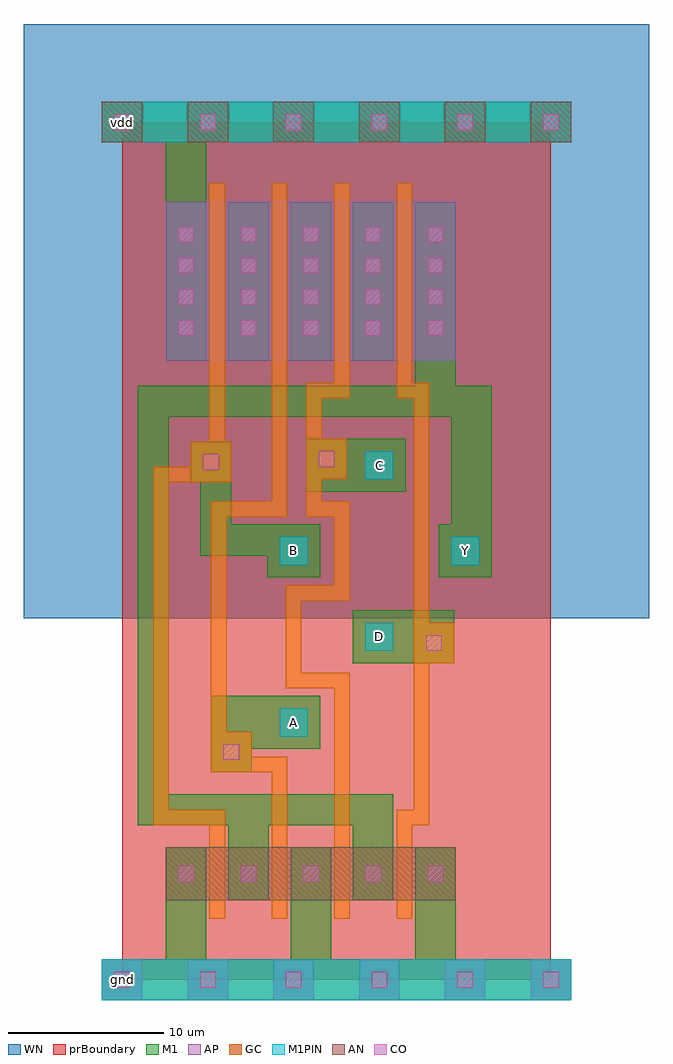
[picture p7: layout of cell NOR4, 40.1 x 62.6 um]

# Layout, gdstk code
import gdstk
lib = gdstk.Library(unit=1e-6, precision=1e-09)
def R(c, l, rs):  # rectangles x0, y0, x1, y1
    for r in rs: c.add(gdstk.rectangle(r[:2], r[2:], *l))
def A(c, l, x, y, w, h, nx, ny, dx, dy):  # array of equal rectangles
    R(c, l, [(x+i*dx, y+j*dy, x+i*dx+w, y+j*dy+h) for i in range(nx) for j in range(ny)])
def P(c, l, *ps):  # polygons
    for p in ps: c.add(gdstk.Polygon(p, *l))
AP = (3, 1)
AN = (3, 2)
GC = (8, 1)
CO = (11, 0)
M1 = (13, 0)
M1PIN = (48, 1)
WN = (140, 0)
prBoundary = (235, 0)

nor4 = lib.new_cell('NOR4')
A(nor4, AP, -1.3, -1.3, 2.6, 2.6, 6, 1, 5.5, 0)
R(nor4, AP, [(2.8,39.7,21.4,49.9), (2.8,39.7,21.4,49.9)])
A(nor4, AN, -1.3, 53.7, 2.6, 2.6, 6, 1, 5.5, 0)
R(nor4, AN, [(2.8,5.1,21.4,8.5)])
P(nor4, GC, [(5.6,3.9),(5.6,9.9),(2,9.9),(2,32.9),(4.4,32.9),(4.4,34.5),(5.6,34.5),(5.6,51.1),(6.6,51.1),(6.6,34.5),(7,34.5),(7,31.9),(3,31.9),(3,10.9),(6.6,10.9),(6.6,3.9)],
  [(9.6,3.9),(9.6,13.3),(5.7,13.3),(5.7,30.7),(9.6,30.7),(9.6,51.1),(10.6,51.1),(10.6,29.7),(6.7,29.7),(6.7,15.9),(8.3,15.9),(8.3,14.3),(10.6,14.3),(10.6,3.9)],
  [(13.6,3.9),(13.6,18.7),(10.5,18.7),(10.5,25.3),(13.6,25.3),(13.6,29.7),(11.8,29.7),(11.8,38.3),(13.6,38.3),(13.6,51.1),(14.6,51.1),(14.6,37.3),(12.8,37.3),(12.8,34.7),(14.4,34.7),(14.4,32.1),(12.8,32.1),(12.8,30.7),(14.6,30.7),(14.6,24.3),(11.5,24.3),(11.5,19.7),(14.6,19.7),(14.6,3.9)],
  [(17.6,3.9),(17.6,10.9),(18.7,10.9),(18.7,37.3),(17.6,37.3),(17.6,51.1),(18.6,51.1),(18.6,38.3),(19.7,38.3),(19.7,22.9),(21.3,22.9),(21.3,20.3),(19.7,20.3),(19.7,9.9),(18.6,9.9),(18.6,3.9)])
A(nor4, CO, -0.5, -0.5, 1, 1, 6, 2, 5.5, 55)
A(nor4, CO, 3.6, 41.3, 1, 1, 1, 4, 0, 2)
A(nor4, CO, 19.6, 41.3, 1, 1, 1, 4, 0, 2)
R(nor4, CO, [(3.6,6.3,4.6,7.3), (7.6,6.3,8.6,7.3), (7.6,6.3,8.6,7.3), (11.6,6.3,12.6,7.3), (11.6,6.3,12.6,7.3), (15.6,6.3,16.6,7.3), (15.6,6.3,16.6,7.3), (19.6,6.3,20.6,7.3), (6.5,14.1,7.5,15.1), (19.5,21.1,20.5,22.1), (5.2,32.7,6.2,33.7), (12.6,32.9,13.6,33.9), (7.6,41.3,8.6,42.3), (7.6,41.3,8.6,42.3), (11.6,41.3,12.6,42.3), (11.6,41.3,12.6,42.3), (15.6,41.3,16.6,42.3), (15.6,41.3,16.6,42.3), (7.6,43.3,8.6,44.3), (7.6,43.3,8.6,44.3), (11.6,43.3,12.6,44.3), (11.6,43.3,12.6,44.3), (15.6,43.3,16.6,44.3), (15.6,43.3,16.6,44.3), (7.6,45.3,8.6,46.3), (7.6,45.3,8.6,46.3), (11.6,45.3,12.6,46.3), (11.6,45.3,12.6,46.3), (15.6,45.3,16.6,46.3), (15.6,45.3,16.6,46.3), (7.6,47.3,8.6,48.3), (7.6,47.3,8.6,48.3), (11.6,47.3,12.6,48.3), (11.6,47.3,12.6,48.3), (15.6,47.3,16.6,48.3), (15.6,47.3,16.6,48.3)])
A(nor4, M1, 6.8, 39.7, 2.6, 10.2, 3, 1, 4, 0)
R(nor4, M1, [(14.8,20.3,21.3,23.7), (11.8,31.3,18.2,34.7)])
P(nor4, M1, [(-1.3,-1.3),(-1.3,1.3),(2.8,1.3),(2.8,8.5),(5.4,8.5),(5.4,1.3),(10.8,1.3),(10.8,8.5),(13.4,8.5),(13.4,1.3),(18.8,1.3),(18.8,8.5),(21.4,8.5),(21.4,1.3),(28.8,1.3),(28.8,-1.3)],
  [(5.7,13.3),(5.7,18.2),(12.7,18.2),(12.7,14.8),(8.3,14.8),(8.3,13.3)],
  [(9.3,25.8),(9.3,27.2),(5,27.2),(5,31.9),(4.4,31.9),(4.4,34.5),(7,34.5),(7,29.2),(12.7,29.2),(12.7,25.8)],
  [(6.8,5.1),(6.8,9.9),(1,9.9),(1,38.1),(18.8,38.1),(18.8,49.9),(21.4,49.9),(21.4,38.1),(23.7,38.1),(23.7,25.8),(20.3,25.8),(20.3,29.2),(21.1,29.2),(21.1,36.1),(3,36.1),(3,11.9),(17.4,11.9),(17.4,5.1),(14.8,5.1),(14.8,9.9),(9.4,9.9),(9.4,5.1)],
  [(2.8,39.7),(2.8,53.7),(-1.3,53.7),(-1.3,56.3),(28.8,56.3),(28.8,53.7),(5.4,53.7),(5.4,39.7)])
R(nor4, M1PIN, [(-1.3,-1.3,28.8,1.3), (10.1,15.6,11.9,17.4), (15.6,21.1,17.4,22.9), (10.1,26.6,11.9,28.4), (21.1,26.6,22.9,28.4), (15.6,32.1,17.4,33.9), (-1.3,53.7,28.8,56.3)])
R(nor4, WN, [(-6.3,23.2,33.8,61.3)])
R(nor4, prBoundary, [(0,0,27.5,55)])
nor4.add(gdstk.Label('B', (11,27.5), layer=48, texttype=0))
nor4.add(gdstk.Label('A', (11,16.5), layer=48, texttype=0))
nor4.add(gdstk.Label('vdd', (0,55), layer=48, texttype=0))
nor4.add(gdstk.Label('C', (16.5,33), layer=48, texttype=0))
nor4.add(gdstk.Label('Y', (22,27.5), layer=48, texttype=0))
nor4.add(gdstk.Label('D', (16.5,22), layer=48, texttype=0))
nor4.add(gdstk.Label('gnd', (0,0), layer=48, texttype=0))

lib.write_gds('NOR4.gds')
